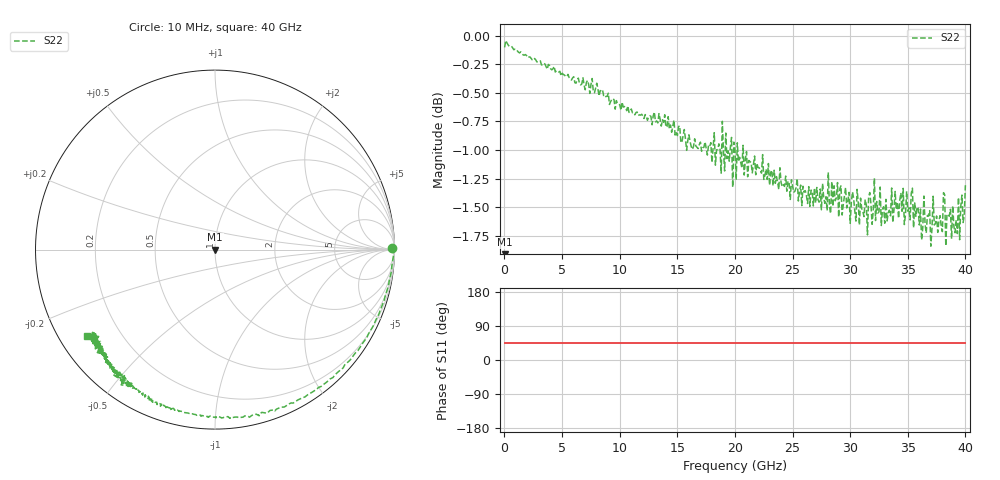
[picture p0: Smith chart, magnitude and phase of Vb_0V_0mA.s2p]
!Agilent Technologies,N5247A,US51170167,A.09.90.10
!Agilent N5247A: A.09.90.10
!Date: Tuesday, November 22, 2016 15:22:59
!Correction: S11(Off)
!S21(Off)
!S12(Off)
!S22(Full 1 Port(2))
!S2P File: Measurements: S11, S21, S12, S22:
# Hz S  RI  R 50
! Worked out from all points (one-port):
!   401 points, 10 MHz to 40 GHz, reference 50 ohm
!   lowest |S11| = - dB at 10 MHz (marker M1), VSWR 1.00, Z = 50 + j7.07e-09 ohm
!   |S11| at or under -10 dB: start of sweep to end of sweep
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1e7  7.07e-11 7.07e-11  7.07e-11 7.07e-11  7.07e-11 7.07e-11  0.9884 0.0103
8.098e8  7.07e-11 7.07e-11  7.07e-11 7.07e-11  7.07e-11 7.07e-11  0.9717 -0.1678
1.709575e9  7.07e-11 7.07e-11  7.07e-11 7.07e-11  7.07e-11 7.07e-11  0.9211 -0.3365
3.6091e9  7.07e-11 7.07e-11  7.07e-11 7.07e-11  7.07e-11 7.07e-11  0.738 -0.6285
5.00875e9  7.07e-11 7.07e-11  7.07e-11 7.07e-11  7.07e-11 7.07e-11  0.5664 -0.7788
6.708325e9  7.07e-11 7.07e-11  7.07e-11 7.07e-11  7.07e-11 7.07e-11  0.3419 -0.8892
8.107975e9  7.07e-11 7.07e-11  7.07e-11 7.07e-11  7.07e-11 7.07e-11  0.1852 -0.9296
9.507625e9  7.07e-11 7.07e-11  7.07e-11 7.07e-11  7.07e-11 7.07e-11  0.0355 -0.9369
1.16071e10  7.07e-11 7.07e-11  7.07e-11 7.07e-11  7.07e-11 7.07e-11  -0.148 -0.9109
1.340665e10  7.07e-11 7.07e-11  7.07e-11 7.07e-11  7.07e-11 7.07e-11  -0.2783 -0.8816
1.530618e10  7.07e-11 7.07e-11  7.07e-11 7.07e-11  7.07e-11 7.07e-11  -0.3696 -0.8181
2.0005e10  7.07e-11 7.07e-11  7.07e-11 7.07e-11  7.07e-11 7.07e-11  -0.5112 -0.7303
2.330418e10  7.07e-11 7.07e-11  7.07e-11 7.07e-11  7.07e-11 7.07e-11  -0.5855 -0.6294
2.670332e10  7.07e-11 7.07e-11  7.07e-11 7.07e-11  7.07e-11 7.07e-11  -0.6144 -0.5951
3.100225e10  7.07e-11 7.07e-11  7.07e-11 7.07e-11  7.07e-11 7.07e-11  -0.6459 -0.537
3.190202e10  7.07e-11 7.07e-11  7.07e-11 7.07e-11  7.07e-11 7.07e-11  -0.6368 -0.5275
3.340165e10  7.07e-11 7.07e-11  7.07e-11 7.07e-11  7.07e-11 7.07e-11  -0.6518 -0.5277
3.52012e10  7.07e-11 7.07e-11  7.07e-11 7.07e-11  7.07e-11 7.07e-11  -0.6655 -0.4969
3.650088e10  7.07e-11 7.07e-11  7.07e-11 7.07e-11  7.07e-11 7.07e-11  -0.6608 -0.4975
3.80005e10  7.07e-11 7.07e-11  7.07e-11 7.07e-11  7.07e-11 7.07e-11  -0.6649 -0.4813
3.900025e10  7.07e-11 7.07e-11  7.07e-11 7.07e-11  7.07e-11 7.07e-11  -0.6538 -0.5037
4e10  7.07e-11 7.07e-11  7.07e-11 7.07e-11  7.07e-11 7.07e-11  -0.7126 -0.4817
